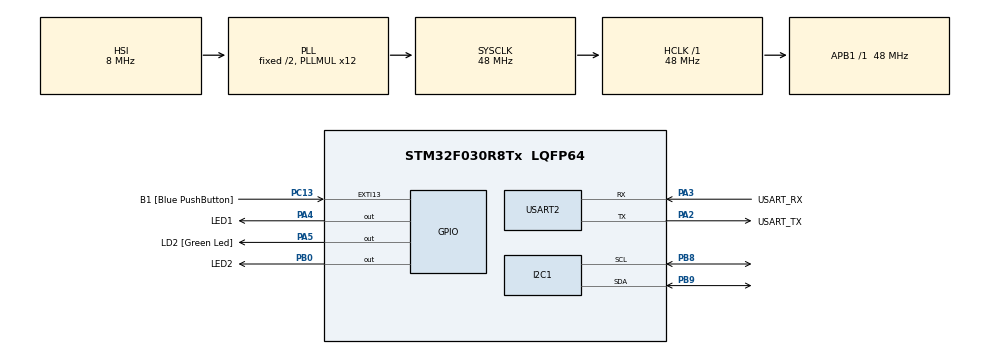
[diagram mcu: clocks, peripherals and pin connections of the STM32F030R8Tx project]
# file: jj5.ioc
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Dma.Request0=USART2_RX
Dma.USART2_RX.0.Direction=DMA_PERIPH_TO_MEMORY
Dma.USART2_RX.0.Instance=DMA1_Channel5
Dma.USART2_RX.0.MemDataAlignment=DMA_MDATAALIGN_BYTE
Dma.USART2_RX.0.MemInc=DMA_MINC_ENABLE
Dma.USART2_RX.0.Mode=DMA_CIRCULAR
Dma.USART2_RX.0.PeriphDataAlignment=DMA_PDATAALIGN_BYTE
Dma.USART2_RX.0.PeriphInc=DMA_PINC_DISABLE
Dma.USART2_RX.0.Priority=DMA_PRIORITY_LOW
I2C1.Timing=0x00201D2B
Mcu.Family=STM32F0
Mcu.Name=STM32F030R8Tx
Mcu.Package=LQFP64
NVIC.DMA1_Channel4_5_IRQn=true\:0\:0\:false\:false\:true\:false\:true\:true
PA13.GPIO_Label=TMS
PA13.Mode=Serial_Wire
PA13.Signal=SYS_SWDIO
PA14.GPIO_Label=TCK
PA14.Mode=Serial_Wire
PA14.Signal=SYS_SWCLK
PA2.GPIO_Label=USART_TX
PA2.GPIO_Mode=GPIO_MODE_AF_PP
PA2.GPIO_PuPd=GPIO_NOPULL
PA2.GPIO_Speed=GPIO_SPEED_FREQ_LOW
PA2.Mode=Asynchronous
PA2.Signal=USART2_TX
PA3.GPIO_Label=USART_RX
PA3.GPIO_Mode=GPIO_MODE_AF_PP
PA3.GPIO_PuPd=GPIO_NOPULL
PA3.GPIO_Speed=GPIO_SPEED_FREQ_LOW
PA3.Mode=Asynchronous
PA3.Signal=USART2_RX
PA4.GPIO_Label=LED1
PA4.Signal=GPIO_Output
PA5.GPIO_Label=LD2 [Green Led]
PA5.GPIO_Mode=GPIO_MODE_OUTPUT_PP
PA5.GPIO_PuPd=GPIO_NOPULL
PA5.GPIO_Speed=GPIO_SPEED_FREQ_LOW
PA5.Signal=GPIO_Output
PB0.GPIO_Label=LED2
PB0.Signal=GPIO_Output
PB8.Mode=I2C
PB8.Signal=I2C1_SCL
PB9.Mode=I2C
PB9.Signal=I2C1_SDA
PC13.GPIO_Label=B1 [Blue PushButton]
PC13.GPIO_ModeDefaultEXTI=GPIO_MODE_IT_FALLING
PC13.Signal=GPXTI13
PC14-OSC32_IN.Mode=LSE-External-Oscillator
PC14-OSC32_IN.Signal=RCC_OSC32_IN
PC15-OSC32_OUT.Mode=LSE-External-Oscillator
PC15-OSC32_OUT.Signal=RCC_OSC32_OUT
PF0-OSC_IN.Mode=HSE-External-Clock-Source
PF0-OSC_IN.Signal=RCC_OSC_IN
PF1-OSC_OUT.Signal=RCC_OSC_OUT
ProjectManager.HeapSize=0x200
ProjectManager.StackSize=0x400
ProjectManager.TargetToolchain=STM32CubeIDE
RCC.AHBFreq_Value=48000000
RCC.APB1Freq_Value=48000000
RCC.APB1TimFreq_Value=48000000
RCC.HCLKFreq_Value=48000000
RCC.PLLMUL=RCC_PLL_MUL12
RCC.SYSCLKFreq_VALUE=48000000
RCC.SYSCLKSource=RCC_SYSCLKSOURCE_PLLCLK
USART2.VirtualMode-Asynchronous=VM_ASYNC
board=NUCLEO-F030R8

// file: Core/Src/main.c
/* USER CODE BEGIN Header */
/**
 ******************************************************************************
 * @file           : main.c
 * @brief          : Main program body
 ******************************************************************************
 * @attention
 *
 * Copyright (c) 2024 STMicroelectronics.
 * All rights reserved.
 *
 * This software is licensed under terms that can be found in the LICENSE file
 * in the root directory of this software component.
 * If no LICENSE file comes with this software, it is provided AS-IS.
 *
 ******************************************************************************
 */
/* USER CODE END Header */
#include "main.h"

/* USER CODE BEGIN Includes */
#include <string.h>
#include <stdio.h>
#include <stdlib.h>
/* USER CODE END Includes */

/* USER CODE BEGIN PD */
I2C_HandleTypeDef hi2c1;  // Přidej toto do privátních proměnných

/* USER CODE END PD */

I2C_HandleTypeDef hi2c1;

UART_HandleTypeDef huart2;
DMA_HandleTypeDef hdma_usart2_rx;

/* USER CODE BEGIN PV */
#define RX_BUFFER_LEN 64
#define CMD_BUFFER_LEN 128
#define EEPROM_ADDR 0xA0  // Adresa EEPROM
static uint8_t uart_rx_buf[RX_BUFFER_LEN];
static volatile uint16_t uart_rx_read_ptr = 0;
#define uart_rx_write_ptr (RX_BUFFER_LEN - hdma_usart2_rx.Instance->CNDTR)
/* USER CODE END PV */

void SystemClock_Config(void);
static void MX_GPIO_Init(void);
static void MX_DMA_Init(void);
static void MX_USART2_UART_Init(void);
static void MX_I2C1_Init(void);

/* USER CODE BEGIN 0 */
static void uart_process_command(char *cmd){
	//printf("%s\n",cmd);

	char *token;
	token = strtok(cmd, " ");
	if (strcasecmp(token, "HELLO") == 0) {
		printf("Communication OK\n");
	}
	else if (strcasecmp(token, "LED1") == 0) {
		token = strtok(NULL, " ");
		if (strcasecmp(token, "ON") == 0) {
			HAL_GPIO_WritePin(LED1_GPIO_Port, LED1_Pin, GPIO_PIN_SET);
		} else if (strcasecmp(token, "OFF") == 0) {
			HAL_GPIO_WritePin(LED1_GPIO_Port, LED1_Pin, GPIO_PIN_RESET);
		}
		printf("OK\n");
	}
	else if (strcasecmp(token, "LED2") == 0) {
		token = strtok(NULL, " ");
		if (strcasecmp(token, "ON") == 0) {
			HAL_GPIO_WritePin(LED2_GPIO_Port, LED2_Pin, GPIO_PIN_SET);
		} else if (strcasecmp(token, "OFF") == 0) {
			HAL_GPIO_WritePin(LED2_GPIO_Port, LED2_Pin, GPIO_PIN_RESET);
		}
		printf("OK\n");

	}
	else if (strcasecmp(token, "STATUS") == 0) {
		if (HAL_GPIO_ReadPin(LED1_GPIO_Port, LED1_Pin)) {
			printf("LED1 ON\n");
		} else

			printf("LED1 OFF\n");

		if (HAL_GPIO_ReadPin(LED2_GPIO_Port, LED2_Pin)) {
			printf("LED2 ON\n");
		} else

			printf("LED2 OFF\n");}

	else if (strcasecmp(token, "READ") == 0) {
		token = strtok(NULL, " ");
		uint16_t addr = (uint16_t)atoi(token);
		uint8_t value;

		HAL_I2C_Mem_Read(&hi2c1, EEPROM_ADDR, addr, I2C_MEMADD_SIZE_16BIT, &value, 1, 1000);
		printf("Address 0x%04X = 0x%02X\n", addr, value);
	}
	else if (strcasecmp(token, "WRITE") == 0) {
		token = strtok(NULL, " ");
		uint16_t addr = (uint16_t)atoi(token);
		token = strtok(NULL, " ");
		uint8_t value = (uint8_t)atoi(token);

		HAL_I2C_Mem_Write(&hi2c1, EEPROM_ADDR, addr, I2C_MEMADD_SIZE_16BIT, &value, 1, 1000);

		while (HAL_I2C_IsDeviceReady(&hi2c1, EEPROM_ADDR, 300, 1000) == HAL_TIMEOUT) {}

		printf("OK\n");
	}
	else if (strcasecmp(token, "DUMP") == 0) {
		uint8_t value;
		for (uint16_t addr = 0; addr < 16; addr++) {
			HAL_I2C_Mem_Read(&hi2c1, EEPROM_ADDR, addr, I2C_MEMADD_SIZE_16BIT, &value, 1, 1000);

			while (HAL_I2C_IsDeviceReady(&hi2c1, EEPROM_ADDR, 300, 1000) == HAL_TIMEOUT) {}

			printf("0x%02X ", value);

			if ((addr + 1) % 8 == 0) {
				printf("\n");
			}
		}
		printf("OK\n");
	}

}

static void uart_byte_available(uint8_t c)
{
	static uint16_t cnt;
	static char data[CMD_BUFFER_LEN];
	if (cnt < CMD_BUFFER_LEN && c >= 32 && c <= 126) data[cnt++] = c;
	if ((c == '\n' || c == '\r') && cnt > 0) {
		data[cnt] = '\0';
		uart_process_command(data);
		cnt = 0;
	}
}

/* USER CODE END 0 */

int main(void)
{

  /* MCU Configuration--------------------------------------------------------*/

  /* Reset of all peripherals, Initializes the Flash interface and the Systick. */
  HAL_Init();

  /* Configure the system clock */
  SystemClock_Config();

  /* Initialize all configured peripherals */
  MX_GPIO_Init();
  MX_DMA_Init();
  MX_USART2_UART_Init();
  MX_I2C1_Init();
  /* USER CODE BEGIN 2 */
	HAL_UART_Receive_DMA(&huart2, uart_rx_buf, RX_BUFFER_LEN);
  /* USER CODE END 2 */

  /* Infinite loop */
  /* USER CODE BEGIN WHILE */
	while (1)
	{
		/* uint8_t c;

	  HAL_UART_Receive(&huart2, &c, 1, HAL_MAX_DELAY);
	  HAL_UART_Transmit(&huart2, &c, 1, HAL_MAX_DELAY);*/

		while (uart_rx_read_ptr != uart_rx_write_ptr) {
			uint8_t b = uart_rx_buf[uart_rx_read_ptr];
			// increase read pointer
			if (++uart_rx_read_ptr >= RX_BUFFER_LEN) uart_rx_read_ptr = 0;
			// process every received byte with the RX state machine
			uart_byte_available(b);
		}
    /* USER CODE END WHILE */

	}
}

void SystemClock_Config(void)
{
  RCC_OscInitTypeDef RCC_OscInitStruct = {0};
  RCC_ClkInitTypeDef RCC_ClkInitStruct = {0};
  RCC_PeriphCLKInitTypeDef PeriphClkInit = {0};

  /** Initializes the RCC Oscillators according to the specified parameters
  * in the RCC_OscInitTypeDef structure.
  */
  RCC_OscInitStruct.OscillatorType = RCC_OSCILLATORTYPE_HSI;
  RCC_OscInitStruct.HSIState = RCC_HSI_ON;
  RCC_OscInitStruct.HSICalibrationValue = RCC_HSICALIBRATION_DEFAULT;
  RCC_OscInitStruct.PLL.PLLState = RCC_PLL_ON;
  RCC_OscInitStruct.PLL.PLLSource = RCC_PLLSOURCE_HSI;
  RCC_OscInitStruct.PLL.PLLMUL = RCC_PLL_MUL12;
  RCC_OscInitStruct.PLL.PREDIV = RCC_PREDIV_DIV1;
  if (HAL_RCC_OscConfig(&RCC_OscInitStruct) != HAL_OK)
  {
    Error_Handler();
  }

  /** Initializes the CPU, AHB and APB buses clocks
  */
  RCC_ClkInitStruct.ClockType = RCC_CLOCKTYPE_HCLK|RCC_CLOCKTYPE_SYSCLK
                              |RCC_CLOCKTYPE_PCLK1;
  RCC_ClkInitStruct.SYSCLKSource = RCC_SYSCLKSOURCE_PLLCLK;
  RCC_ClkInitStruct.AHBCLKDivider = RCC_SYSCLK_DIV1;
  RCC_ClkInitStruct.APB1CLKDivider = RCC_HCLK_DIV1;

  if (HAL_RCC_ClockConfig(&RCC_ClkInitStruct, FLASH_LATENCY_1) != HAL_OK)
  {
    Error_Handler();
  }
  PeriphClkInit.PeriphClockSelection = RCC_PERIPHCLK_I2C1;
  PeriphClkInit.I2c1ClockSelection = RCC_I2C1CLKSOURCE_HSI;
  if (HAL_RCCEx_PeriphCLKConfig(&PeriphClkInit) != HAL_OK)
  {
    Error_Handler();
  }
}

static void MX_I2C1_Init(void)
{

  hi2c1.Instance = I2C1;
  hi2c1.Init.Timing = 0x00201D2B;
  hi2c1.Init.OwnAddress1 = 0;
  hi2c1.Init.AddressingMode = I2C_ADDRESSINGMODE_7BIT;
  hi2c1.Init.DualAddressMode = I2C_DUALADDRESS_DISABLE;
  hi2c1.Init.OwnAddress2 = 0;
  hi2c1.Init.OwnAddress2Masks = I2C_OA2_NOMASK;
  hi2c1.Init.GeneralCallMode = I2C_GENERALCALL_DISABLE;
  hi2c1.Init.NoStretchMode = I2C_NOSTRETCH_DISABLE;
  if (HAL_I2C_Init(&hi2c1) != HAL_OK)
  {
    Error_Handler();
  }

  /** Configure Analogue filter
  */
  if (HAL_I2CEx_ConfigAnalogFilter(&hi2c1, I2C_ANALOGFILTER_ENABLE) != HAL_OK)
  {
    Error_Handler();
  }

  /** Configure Digital filter
  */
  if (HAL_I2CEx_ConfigDigitalFilter(&hi2c1, 0) != HAL_OK)
  {
    Error_Handler();
  }

}

static void MX_USART2_UART_Init(void)
{

  huart2.Instance = USART2;
  huart2.Init.BaudRate = 38400;
  huart2.Init.WordLength = UART_WORDLENGTH_8B;
  huart2.Init.StopBits = UART_STOPBITS_1;
  huart2.Init.Parity = UART_PARITY_NONE;
  huart2.Init.Mode = UART_MODE_TX_RX;
  huart2.Init.HwFlowCtl = UART_HWCONTROL_NONE;
  huart2.Init.OverSampling = UART_OVERSAMPLING_16;
  huart2.Init.OneBitSampling = UART_ONE_BIT_SAMPLE_DISABLE;
  huart2.AdvancedInit.AdvFeatureInit = UART_ADVFEATURE_NO_INIT;
  if (HAL_UART_Init(&huart2) != HAL_OK)
  {
    Error_Handler();
  }

}

static void MX_DMA_Init(void)
{

  /* DMA controller clock enable */
  __HAL_RCC_DMA1_CLK_ENABLE();

  /* DMA interrupt init */
  /* DMA1_Channel4_5_IRQn interrupt configuration */
  HAL_NVIC_SetPriority(DMA1_Channel4_5_IRQn, 0, 0);
  HAL_NVIC_EnableIRQ(DMA1_Channel4_5_IRQn);

}

static void MX_GPIO_Init(void)
{
  GPIO_InitTypeDef GPIO_InitStruct = {0};

  /* GPIO Ports Clock Enable */
  __HAL_RCC_GPIOC_CLK_ENABLE();
  __HAL_RCC_GPIOF_CLK_ENABLE();
  __HAL_RCC_GPIOA_CLK_ENABLE();
  __HAL_RCC_GPIOB_CLK_ENABLE();

  /*Configure GPIO pin Output Level */
  HAL_GPIO_WritePin(GPIOA, LED1_Pin|LD2_Pin, GPIO_PIN_RESET);

  /*Configure GPIO pin Output Level */
  HAL_GPIO_WritePin(LED2_GPIO_Port, LED2_Pin, GPIO_PIN_RESET);

  /*Configure GPIO pin : B1_Pin */
  GPIO_InitStruct.Pin = B1_Pin;
  GPIO_InitStruct.Mode = GPIO_MODE_IT_FALLING;
  GPIO_InitStruct.Pull = GPIO_NOPULL;
  HAL_GPIO_Init(B1_GPIO_Port, &GPIO_InitStruct);

  /*Configure GPIO pins : LED1_Pin LD2_Pin */
  GPIO_InitStruct.Pin = LED1_Pin|LD2_Pin;
  GPIO_InitStruct.Mode = GPIO_MODE_OUTPUT_PP;
  GPIO_InitStruct.Pull = GPIO_NOPULL;
  GPIO_InitStruct.Speed = GPIO_SPEED_FREQ_LOW;
  HAL_GPIO_Init(GPIOA, &GPIO_InitStruct);

  /*Configure GPIO pin : LED2_Pin */
  GPIO_InitStruct.Pin = LED2_Pin;
  GPIO_InitStruct.Mode = GPIO_MODE_OUTPUT_PP;
  GPIO_InitStruct.Pull = GPIO_NOPULL;
  GPIO_InitStruct.Speed = GPIO_SPEED_FREQ_LOW;
  HAL_GPIO_Init(LED2_GPIO_Port, &GPIO_InitStruct);

}

/* USER CODE BEGIN 4 */
int _write(int file, char const *buf, int n)
{
	/* stdout redirection to UART2 */
	HAL_UART_Transmit(&huart2, (uint8_t*)(buf), n, HAL_MAX_DELAY);
	return n;
}

/* USER CODE END 4 */

void Error_Handler(void)
{
	__disable_irq();
	while (1)
	{
	}
}
